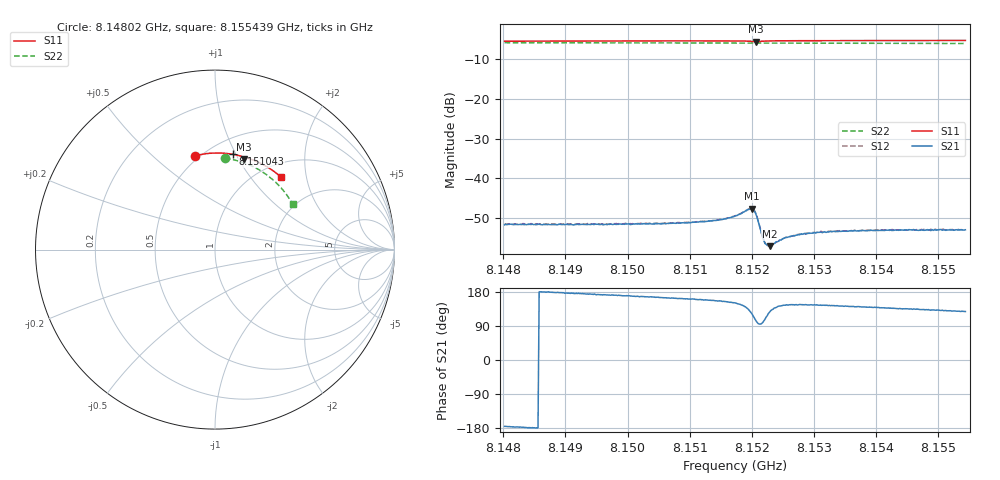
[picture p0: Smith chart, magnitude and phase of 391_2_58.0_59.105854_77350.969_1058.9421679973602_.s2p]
#  HZ  S  RI  R  50.00
! Rohde & Schwarz Vector Network Analyzer
! Rohde-Schwarz,ZNB20-2Port,1311601062101988,3.16
! Created: UTC 3/21/2024, 1:07:50 AM
! freq[Hz]  re:S11  im:S11  re:S21  im:S21  re:S12  im:S12  re:S22  im:S22
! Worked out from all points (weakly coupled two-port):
!   401 points, 8.14802 GHz to 8.155439 GHz, reference 50 ohm
!   highest |S21| = -47.65 dB at 8.152008 GHz (marker M1); lowest = -57.1 dB at 8.152286 GHz (marker M2)
!   lowest |S11| = -5.5 dB at 8.152063 GHz (marker M3), VSWR 3.25, Z = 37.7 + j52.7 ohm
!   |S11| at or under -10 dB: nowhere
!   |S22| runs from -6.0 to -5.8 dB; largest |S21 - S12| = 0.00011
!   S11 on the Smith chart (normalised r, x): 8.14802 GHz: 0.47, +0.69; 8.151043 GHz: 0.65, +0.97; 8.155439 GHz: 1.24, +1.44
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8.1480203e9  -0.1105 0.5238  -0.00258 -0.00022  -0.00263 -0.000173  0.0552 0.5093
8.1492629e9  -0.0248 0.5369  -0.00263 0.000229  -0.00267 0.000282  0.1342 0.4927
8.1505055e9  0.0617 0.536  -0.0026 0.000695  -0.0026 0.00074  0.2088 0.4642
8.1510433e9  0.0991 0.5313  -0.00265 0.000905  -0.00262 0.000966  0.2394 0.4483
8.1514328e9  0.1262 0.5258  -0.00271 0.00119  -0.0027 0.00124  0.2609 0.4354
8.1517295e9  0.1477 0.5195  -0.00291 0.00164  -0.00292 0.00169  0.2767 0.425
8.1519335e9  0.1623 0.5107  -0.00289 0.00285  -0.0028 0.00289  0.2872 0.4173
8.1520077e9  0.1643 0.5052  -0.00209 0.00358  -0.00202 0.00362  0.2908 0.4143
8.1520448e9  0.1633 0.5034  -0.00128 0.00364  -0.00126 0.00368  0.2925 0.413
8.1520633e9  0.1624 0.5033  -0.000903 0.00347  -0.000884 0.00353  0.2934 0.4123
8.1521004e9  0.1617 0.5048  -0.000326 0.0029  -0.000311 0.00295  0.2951 0.4111
8.152156e9  0.164 0.508  -0.000211 0.00204  -0.000166 0.00201  0.298 0.4091
8.1521931e9  0.1668 0.5093  -0.000377 0.00162  -0.000354 0.00162  0.2999 0.4076
8.1522302e9  0.1699 0.5099  -0.000583 0.00136  -0.000562 0.00135  0.3018 0.4063
8.1522859e9  0.1747 0.5102  -0.000825 0.00113  -0.000808 0.00117  0.3045 0.4043
8.152564e9  0.1958 0.5053  -0.00149 0.00101  -0.00149 0.00106  0.3184 0.3929
8.1527495e9  0.2085 0.5009  -0.00161 0.00111  -0.0016 0.00112  0.3273 0.3852
8.1528237e9  0.2136 0.499  -0.00163 0.0011  -0.00162 0.00115  0.3307 0.3822
8.1529721e9  0.2233 0.4952  -0.00167 0.00116  -0.00169 0.0012  0.3376 0.3758
8.1532873e9  0.2435 0.486  -0.00173 0.00126  -0.00171 0.00126  0.3518 0.3617
8.1542146e9  0.3 0.4552  -0.00163 0.00154  -0.0016 0.00153  0.3899 0.3177
8.1554386e9  0.3675 0.4047  -0.00138 0.00178  -0.00138 0.00177  0.4318 0.2539
